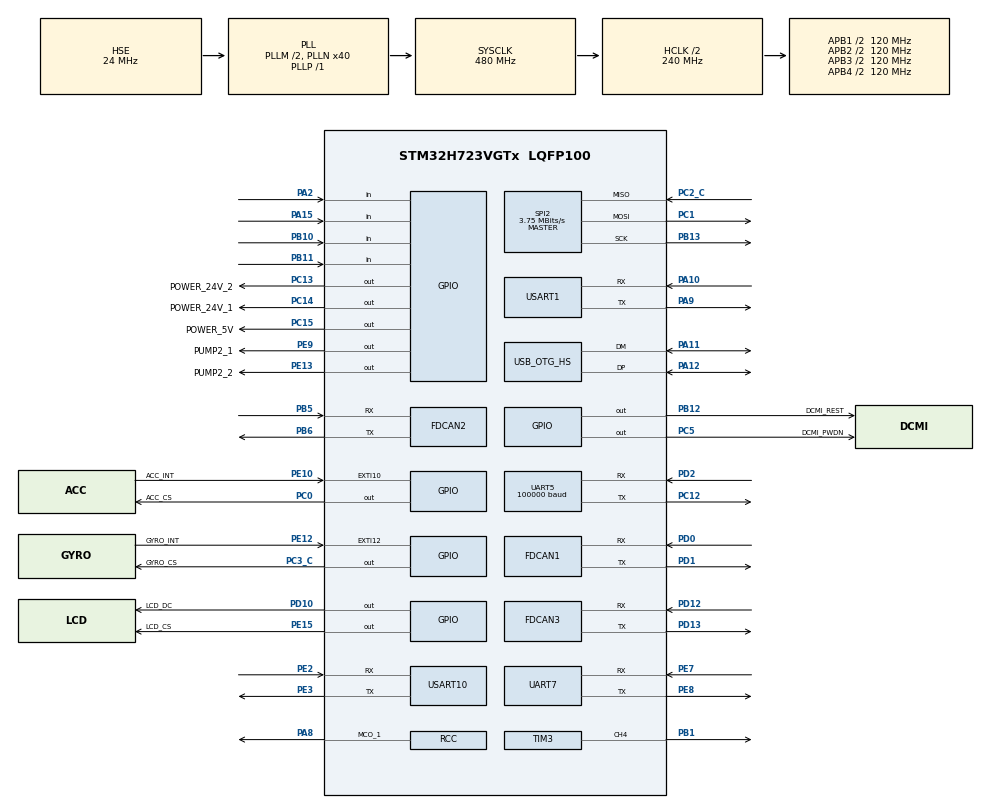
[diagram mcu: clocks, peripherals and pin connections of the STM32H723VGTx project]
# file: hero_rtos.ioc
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CORTEX_M7.default_mode_Activation=0
Dma.Request0=USART10_RX
Dma.Request1=UART5_RX
Dma.Request2=SPI2_RX
Dma.Request3=SPI2_TX
Dma.Request4=USART1_RX
Dma.SPI2_RX.2.Direction=DMA_PERIPH_TO_MEMORY
Dma.SPI2_RX.2.EventEnable=DISABLE
Dma.SPI2_RX.2.FIFOMode=DMA_FIFOMODE_DISABLE
Dma.SPI2_RX.2.Instance=DMA2_Stream0
Dma.SPI2_RX.2.MemDataAlignment=DMA_MDATAALIGN_BYTE
Dma.SPI2_RX.2.MemInc=DMA_MINC_ENABLE
Dma.SPI2_RX.2.Mode=DMA_NORMAL
Dma.SPI2_RX.2.PeriphDataAlignment=DMA_PDATAALIGN_BYTE
Dma.SPI2_RX.2.PeriphInc=DMA_PINC_DISABLE
Dma.SPI2_RX.2.Polarity=HAL_DMAMUX_REQ_GEN_RISING
Dma.SPI2_RX.2.Priority=DMA_PRIORITY_VERY_HIGH
Dma.SPI2_RX.2.RequestNumber=1
Dma.SPI2_RX.2.SignalID=NONE
Dma.SPI2_RX.2.SyncEnable=DISABLE
Dma.SPI2_RX.2.SyncPolarity=HAL_DMAMUX_SYNC_NO_EVENT
Dma.SPI2_RX.2.SyncRequestNumber=1
Dma.SPI2_RX.2.SyncSignalID=NONE
Dma.SPI2_TX.3.Direction=DMA_MEMORY_TO_PERIPH
Dma.SPI2_TX.3.EventEnable=DISABLE
Dma.SPI2_TX.3.FIFOMode=DMA_FIFOMODE_DISABLE
Dma.SPI2_TX.3.Instance=DMA2_Stream1
Dma.SPI2_TX.3.MemDataAlignment=DMA_MDATAALIGN_BYTE
Dma.SPI2_TX.3.MemInc=DMA_MINC_ENABLE
Dma.SPI2_TX.3.Mode=DMA_NORMAL
Dma.SPI2_TX.3.PeriphDataAlignment=DMA_PDATAALIGN_BYTE
Dma.SPI2_TX.3.PeriphInc=DMA_PINC_DISABLE
Dma.SPI2_TX.3.Polarity=HAL_DMAMUX_REQ_GEN_RISING
Dma.SPI2_TX.3.Priority=DMA_PRIORITY_HIGH
Dma.SPI2_TX.3.RequestNumber=1
Dma.SPI2_TX.3.SignalID=NONE
Dma.SPI2_TX.3.SyncEnable=DISABLE
Dma.SPI2_TX.3.SyncPolarity=HAL_DMAMUX_SYNC_NO_EVENT
Dma.SPI2_TX.3.SyncRequestNumber=1
Dma.SPI2_TX.3.SyncSignalID=NONE
Dma.UART5_RX.1.Direction=DMA_PERIPH_TO_MEMORY
Dma.UART5_RX.1.EventEnable=DISABLE
Dma.UART5_RX.1.FIFOMode=DMA_FIFOMODE_DISABLE
Dma.UART5_RX.1.Instance=DMA1_Stream3
Dma.UART5_RX.1.MemDataAlignment=DMA_MDATAALIGN_BYTE
Dma.UART5_RX.1.MemInc=DMA_MINC_ENABLE
Dma.UART5_RX.1.Mode=DMA_NORMAL
Dma.UART5_RX.1.PeriphDataAlignment=DMA_PDATAALIGN_BYTE
Dma.UART5_RX.1.PeriphInc=DMA_PINC_DISABLE
Dma.UART5_RX.1.Polarity=HAL_DMAMUX_REQ_GEN_RISING
Dma.UART5_RX.1.Priority=DMA_PRIORITY_VERY_HIGH
Dma.UART5_RX.1.RequestNumber=1
Dma.UART5_RX.1.SignalID=NONE
Dma.UART5_RX.1.SyncEnable=DISABLE
Dma.UART5_RX.1.SyncPolarity=HAL_DMAMUX_SYNC_NO_EVENT
Dma.UART5_RX.1.SyncRequestNumber=1
Dma.UART5_RX.1.SyncSignalID=NONE
Dma.USART10_RX.0.Direction=DMA_PERIPH_TO_MEMORY
Dma.USART10_RX.0.EventEnable=DISABLE
Dma.USART10_RX.0.FIFOMode=DMA_FIFOMODE_DISABLE
Dma.USART10_RX.0.Instance=DMA1_Stream2
Dma.USART10_RX.0.MemDataAlignment=DMA_MDATAALIGN_BYTE
Dma.USART10_RX.0.MemInc=DMA_MINC_ENABLE
Dma.USART10_RX.0.Mode=DMA_NORMAL
Dma.USART10_RX.0.PeriphDataAlignment=DMA_PDATAALIGN_BYTE
Dma.USART10_RX.0.PeriphInc=DMA_PINC_DISABLE
Dma.USART10_RX.0.Polarity=HAL_DMAMUX_REQ_GEN_RISING
Dma.USART10_RX.0.Priority=DMA_PRIORITY_VERY_HIGH
Dma.USART10_RX.0.RequestNumber=1
Dma.USART10_RX.0.SignalID=NONE
Dma.USART10_RX.0.SyncEnable=DISABLE
Dma.USART10_RX.0.SyncPolarity=HAL_DMAMUX_SYNC_NO_EVENT
Dma.USART10_RX.0.SyncRequestNumber=1
Dma.USART10_RX.0.SyncSignalID=NONE
Dma.USART1_RX.4.Direction=DMA_PERIPH_TO_MEMORY
Dma.USART1_RX.4.EventEnable=DISABLE
Dma.USART1_RX.4.FIFOMode=DMA_FIFOMODE_DISABLE
Dma.USART1_RX.4.Instance=DMA1_Stream0
Dma.USART1_RX.4.MemDataAlignment=DMA_MDATAALIGN_BYTE
Dma.USART1_RX.4.MemInc=DMA_MINC_ENABLE
Dma.USART1_RX.4.Mode=DMA_NORMAL
Dma.USART1_RX.4.PeriphDataAlignment=DMA_PDATAALIGN_BYTE
Dma.USART1_RX.4.PeriphInc=DMA_PINC_DISABLE
Dma.USART1_RX.4.Polarity=HAL_DMAMUX_REQ_GEN_RISING
Dma.USART1_RX.4.Priority=DMA_PRIORITY_VERY_HIGH
Dma.USART1_RX.4.RequestNumber=1
Dma.USART1_RX.4.SignalID=NONE
Dma.USART1_RX.4.SyncEnable=DISABLE
Dma.USART1_RX.4.SyncPolarity=HAL_DMAMUX_SYNC_NO_EVENT
Dma.USART1_RX.4.SyncRequestNumber=1
Dma.USART1_RX.4.SyncSignalID=NONE
FDCAN1.CalculateBaudRateNominal=1000000
FDCAN1.CalculateTimeBitNominal=1000
FDCAN1.CalculateTimeQuantumNominal=25.0
FDCAN1.DataPrescaler=3
FDCAN1.DataSyncJumpWidth=10
FDCAN1.DataTimeSeg1=29
FDCAN1.DataTimeSeg2=10
FDCAN1.NominalPrescaler=3
FDCAN1.NominalTimeSeg1=29
FDCAN1.NominalTimeSeg2=10
FDCAN1.ProtocolException=ENABLE
FDCAN1.RxFifo0ElmtsNbr=4
FDCAN1.RxFifo1ElmtsNbr=4
FDCAN1.StdFiltersNbr=14
FDCAN1.TxFifoQueueElmtsNbr=4
FDCAN2.CalculateBaudRateNominal=1000000
FDCAN2.CalculateTimeBitNominal=1000
FDCAN2.CalculateTimeQuantumNominal=25.0
FDCAN2.DataPrescaler=3
FDCAN2.DataSyncJumpWidth=10
FDCAN2.DataTimeSeg1=29
FDCAN2.DataTimeSeg2=10
FDCAN2.MessageRAMOffset=0x406
FDCAN2.NominalPrescaler=3
FDCAN2.NominalTimeSeg1=29
FDCAN2.NominalTimeSeg2=10
FDCAN2.RxFifo0ElmtsNbr=4
FDCAN2.RxFifo1ElmtsNbr=4
FDCAN2.StdFiltersNbr=14
FDCAN2.TxFifoQueueElmtsNbr=4
FDCAN3.CalculateBaudRateNominal=1000000
FDCAN3.CalculateTimeBitNominal=1000
FDCAN3.CalculateTimeQuantumNominal=25.0
FDCAN3.DataPrescaler=3
FDCAN3.DataSyncJumpWidth=10
FDCAN3.DataTimeSeg1=29
FDCAN3.DataTimeSeg2=10
FDCAN3.MessageRAMOffset=0x812
FDCAN3.NominalPrescaler=3
FDCAN3.NominalTimeSeg1=29
FDCAN3.NominalTimeSeg2=10
FDCAN3.RxFifo0ElmtsNbr=4
FDCAN3.RxFifo1ElmtsNbr=4
FDCAN3.StdFiltersNbr=14
FDCAN3.TxFifoQueueElmtsNbr=4
FREERTOS.Tasks01=AlgorithmTask,40,2048,AlgorithmTask_Entry,As weak,NULL,Dynamic,NULL,NULL
FREERTOS.configENABLE_FPU=1
FREERTOS.configTOTAL_HEAP_SIZE=200000
FREERTOS.configUSE_NEWLIB_REENTRANT=1
Mcu.Family=STM32H7
Mcu.Name=STM32H723VGTx
Mcu.Package=LQFP100
NVIC.DMA1_Stream0_IRQn=true\:5\:0\:false\:false\:true\:true\:false\:true\:true
NVIC.DMA1_Stream2_IRQn=true\:5\:0\:false\:false\:true\:true\:false\:true\:true
NVIC.DMA1_Stream3_IRQn=true\:5\:0\:false\:false\:true\:true\:false\:true\:true
NVIC.DMA2_Stream0_IRQn=true\:5\:0\:false\:false\:true\:true\:false\:true\:true
NVIC.DMA2_Stream1_IRQn=true\:5\:0\:false\:false\:true\:true\:false\:true\:true
NVIC.FDCAN1_IT0_IRQn=true\:5\:0\:false\:false\:true\:true\:true\:true\:true
NVIC.FDCAN1_IT1_IRQn=true\:5\:0\:false\:false\:true\:true\:true\:true\:true
NVIC.FDCAN2_IT0_IRQn=true\:5\:0\:false\:false\:true\:true\:true\:true\:true
NVIC.FDCAN2_IT1_IRQn=true\:5\:0\:false\:false\:true\:true\:true\:true\:true
NVIC.FDCAN3_IT0_IRQn=true\:5\:0\:false\:false\:true\:true\:true\:true\:true
NVIC.FDCAN3_IT1_IRQn=true\:5\:0\:false\:false\:true\:true\:true\:true\:true
NVIC.OTG_HS_IRQn=true\:5\:0\:false\:false\:true\:true\:true\:true\:true
NVIC.PriorityGroup=NVIC_PRIORITYGROUP_4
NVIC.SPI2_IRQn=true\:5\:0\:false\:false\:true\:true\:false\:true\:true
NVIC.TIM23_IRQn=true\:15\:0\:false\:false\:true\:false\:false\:true\:true
NVIC.TimeBase=TIM23_IRQn
NVIC.TimeBaseIP=TIM23
NVIC.UART5_IRQn=true\:5\:0\:false\:false\:true\:true\:true\:true\:true
NVIC.USART10_IRQn=true\:5\:0\:false\:false\:true\:true\:true\:true\:true
NVIC.USART1_IRQn=true\:5\:0\:false\:false\:true\:true\:true\:true\:true
PA1.Signal=OCTOSPIM_P1_IO3
PA10.GPIO_Speed=GPIO_SPEED_FREQ_VERY_HIGH
PA10.Mode=Asynchronous
PA10.Signal=USART1_RX
PA11.Mode=Device_Only_FS
PA11.Signal=USB_OTG_HS_DM
PA12.Mode=Device_Only_FS
PA12.Signal=USB_OTG_HS_DP
PA13(JTMS/SWDIO).Signal=DEBUG_JTMS-SWDIO
PA14(JTCK/SWCLK).Signal=DEBUG_JTCK-SWCLK
PA15(JTDI).Signal=GPIO_Input
PA2.Signal=GPIO_Input
PA3.Signal=OCTOSPIM_P1_IO2
PA5.Signal=ADCx_INP19
PA8.Mode=Clock-out-1
PA8.Signal=RCC_MCO_1
PA9.GPIO_Speed=GPIO_SPEED_FREQ_VERY_HIGH
PA9.Mode=Asynchronous
PA9.Signal=USART1_TX
PB0.Signal=OCTOSPIM_P1_IO1
PB1.Signal=S_TIM3_CH4
PB10.Signal=GPIO_Input
PB11.Signal=GPIO_Input
PB12.GPIO_Label=DCMI_REST
PB12.GPIO_PuPd=GPIO_PULLUP
PB12.GPIO_Speed=GPIO_SPEED_FREQ_VERY_HIGH
PB12.PinState=GPIO_PIN_SET
PB12.Signal=GPIO_Output
PB13.GPIO_Speed=GPIO_SPEED_FREQ_VERY_HIGH
PB13.Mode=Full_Duplex_Master
PB13.Signal=SPI2_SCK
PB15.Signal=S_TIM12_CH2
PB2.Signal=OCTOSPIM_P1_CLK
PB5.Mode=FDCAN_Activate
PB5.Signal=FDCAN2_RX
PB6.Mode=FDCAN_Activate
PB6.Signal=FDCAN2_TX
PC0.GPIO_Label=ACC_CS
PC0.GPIO_Speed=GPIO_SPEED_FREQ_VERY_HIGH
PC0.PinState=GPIO_PIN_SET
PC0.Signal=GPIO_Output
PC1.GPIO_Speed=GPIO_SPEED_FREQ_VERY_HIGH
PC1.Mode=Full_Duplex_Master
PC1.Signal=SPI2_MOSI
PC12.GPIO_Speed=GPIO_SPEED_FREQ_VERY_HIGH
PC12.Mode=Asynchronous
PC12.Signal=UART5_TX
PC13.GPIO_Label=POWER_24V_2
PC13.PinState=GPIO_PIN_SET
PC13.Signal=GPIO_Output
PC14-OSC32_IN.GPIO_Label=POWER_24V_1
PC14-OSC32_IN.PinState=GPIO_PIN_SET
PC14-OSC32_IN.Signal=GPIO_Output
PC15-OSC32_OUT.GPIO_Label=POWER_5V
PC15-OSC32_OUT.PinState=GPIO_PIN_SET
PC15-OSC32_OUT.Signal=GPIO_Output
PC2_C.GPIO_Speed=GPIO_SPEED_FREQ_VERY_HIGH
PC2_C.Mode=Full_Duplex_Master
PC2_C.Signal=SPI2_MISO
PC3_C.GPIO_Label=GYRO_CS
PC3_C.GPIO_Speed=GPIO_SPEED_FREQ_VERY_HIGH
PC3_C.PinState=GPIO_PIN_SET
PC3_C.Signal=GPIO_Output
PC5.GPIO_Label=DCMI_PWDN
PC5.GPIO_Speed=GPIO_SPEED_FREQ_VERY_HIGH
PC5.PinState=GPIO_PIN_SET
PC5.Signal=GPIO_Output
PD0.Mode=FDCAN_Activate
PD0.Signal=FDCAN1_RX
PD1.Mode=FDCAN_Activate
PD1.Signal=FDCAN1_TX
PD10.GPIO_Label=LCD_DC
PD10.Signal=GPIO_Output
PD11.Signal=OCTOSPIM_P1_IO0
PD12.Mode=FDCAN_Activate
PD12.Signal=FDCAN3_RX
PD13.Mode=FDCAN_Activate
PD13.Signal=FDCAN3_TX
PD2.GPIO_Speed=GPIO_SPEED_FREQ_VERY_HIGH
PD2.Mode=Asynchronous
PD2.Signal=UART5_RX
PD4.Signal=USART2_DE
PD5.Signal=USART2_TX
PD6.Signal=USART2_RX
PD7.Signal=SPI1_MOSI
PE10.GPIO_Label=ACC_INT
PE10.Signal=GPXTI10
PE11.Signal=OCTOSPIM_P1_NCS
PE12.GPIO_Label=GYRO_INT
PE12.Signal=GPXTI12
PE13.GPIO_Label=PUMP2_2
PE13.Signal=GPIO_Output
PE15.GPIO_Label=LCD_CS
PE15.Signal=GPIO_Output
PE2.GPIO_Speed=GPIO_SPEED_FREQ_VERY_HIGH
PE2.Mode=Asynchronous
PE2.Signal=USART10_RX
PE3.GPIO_Speed=GPIO_SPEED_FREQ_VERY_HIGH
PE3.Mode=Asynchronous
PE3.Signal=USART10_TX
PE7.Mode=Asynchronous
PE7.Signal=UART7_RX
PE8.Mode=Asynchronous
PE8.Signal=UART7_TX
PE9.GPIO_Label=PUMP2_1
PE9.Signal=GPIO_Output
PH0-OSC_IN.Mode=HSE-External-Oscillator
PH0-OSC_IN.Signal=RCC_OSC_IN
PH1-OSC_OUT.Mode=HSE-External-Oscillator
PH1-OSC_OUT.Signal=RCC_OSC_OUT
ProjectManager.HeapSize=0x200
ProjectManager.StackSize=0x400
ProjectManager.TargetToolchain=STM32CubeIDE
RCC.ADCFreq_Value=96000000
RCC.APB1Freq_Value=120000000
RCC.APB2Freq_Value=120000000
RCC.APB3Freq_Value=120000000
RCC.APB4Freq_Value=120000000
RCC.CortexFreq_Value=480000000
RCC.D1PPRE=RCC_APB3_DIV2
RCC.D2PPRE1=RCC_APB1_DIV2
RCC.D2PPRE2=RCC_APB2_DIV2
RCC.D3PPRE=RCC_APB4_DIV2
RCC.DIVM1=2
RCC.DIVM2=2
RCC.DIVN1=40
RCC.DIVN2=16
RCC.DIVP1=1
RCC.DIVQ1=4
RCC.HCLKFreq_Value=240000000
RCC.HPRE=RCC_HCLK_DIV2
RCC.HSE_VALUE=24000000
RCC.PLL2FRACN=0
RCC.PLL3FRACN=0
RCC.PLLFRACN=0
RCC.PLLSourceVirtual=RCC_PLLSOURCE_HSE
RCC.PWR_Regulator_Voltage_Scale=PWR_REGULATOR_VOLTAGE_SCALE0
RCC.SYSCLKFreq_VALUE=480000000
RCC.SYSCLKSource=RCC_SYSCLKSOURCE_PLLCLK
RCC.USBCLockSelection=RCC_USBCLKSOURCE_HSI48
RCC.USBFreq_Value=48000000
SH.ADCx_INP19.0=ADC1_INP19
SH.S_TIM12_CH2.0=TIM12_CH2
SH.S_TIM3_CH4.0=TIM3_CH4,PWM Generation4 CH4
SPI2.BaudRatePrescaler=SPI_BAUDRATEPRESCALER_32
SPI2.CLKPhase=SPI_PHASE_2EDGE
SPI2.CLKPolarity=SPI_POLARITY_HIGH
SPI2.CalculateBaudRate=3.75 MBits/s
SPI2.DataSize=SPI_DATASIZE_8BIT
SPI2.Direction=SPI_DIRECTION_2LINES
SPI2.Mode=SPI_MODE_MASTER
SPI2.VirtualType=VM_MASTER
TIM3.AutoReloadPreload=TIM_AUTORELOAD_PRELOAD_ENABLE
TIM3.Channel-PWM\ Generation4\ CH4=TIM_CHANNEL_4
TIM3.Period=10000-1
TIM3.Prescaler=24-1
UART5.BaudRate=100000
UART5.Parity=PARITY_EVEN
UART5.WordLength=WORDLENGTH_9B
USART1.VirtualMode-Asynchronous=VM_ASYNC
USART10.VirtualMode=VM_ASYNC
USB_DEVICE.CLASS_NAME_HS=CDC
USB_DEVICE.VirtualMode=Cdc
USB_DEVICE.VirtualModeHS=Cdc_HS
USB_OTG_HS.VirtualMode-Device_Only_FS=Device_Only_FS
VP_FREERTOS_VS_CMSIS_V2.Mode=CMSIS_V2
VP_MEMORYMAP_VS_MEMORYMAP.Mode=CurAppReg
VP_SYS_VS_tim23.Mode=TIM23
VP_USB_DEVICE_VS_USB_DEVICE_CDC_HS.Mode=CDC_HS
board=custom

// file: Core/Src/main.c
/* USER CODE BEGIN Header */
/**
  ******************************************************************************
  * @file           : main.c
  * @brief          : Main program body
  ******************************************************************************
  * @attention
  *
  * Copyright (c) 2026 STMicroelectronics.
  * All rights reserved.
  *
  * This software is licensed under terms that can be found in the LICENSE file
  * in the root directory of this software component.
  * If no LICENSE file comes with this software, it is provided AS-IS.
  *
  ******************************************************************************
  */
/* USER CODE END Header */
#include "main.h"
#include "FreeRTOS.h"
#include "cmsis_os2.h"
#include "dma.h"
#include "fdcan.h"
#include "spi.h"
#include "tim.h"
#include "usart.h"
#include "usb_device.h"
#include "gpio.h"

/* USER CODE BEGIN Includes */
#include "drv_dwt.h"
#include "bsp_fdcan.h"
/* USER CODE END Includes */

void SystemClock_Config(void);
void MX_FREERTOS_Init(void);

int main(void)
{

  /* MCU Configuration--------------------------------------------------------*/

  /* Reset of all peripherals, Initializes the Flash interface and the Systick. */
  HAL_Init();

  /* USER CODE BEGIN Init */
  dwt_init(480);  // CPU主频480MHz
  /* USER CODE END Init */

  /* Configure the system clock */
  SystemClock_Config();

  /* Initialize all configured peripherals */
  MX_GPIO_Init();
  MX_DMA_Init();
  MX_FDCAN1_Init();
  MX_FDCAN2_Init();
  MX_FDCAN3_Init();
  MX_SPI2_Init();
  MX_UART5_Init();
  MX_UART7_Init();
  MX_USART1_UART_Init();
  MX_USART10_UART_Init();
  MX_TIM3_Init();
  /* USER CODE BEGIN 2 */
  bsp_can_init();
  /* USER CODE END 2 */

  /* Init scheduler */
  osKernelInitialize();  /* Call init function for freertos objects (in cmsis_os2.c) */
  MX_FREERTOS_Init();

  /* Start scheduler */
  osKernelStart();

  /* We should never get here as control is now taken by the scheduler */

  /* Infinite loop */
  while (1)
  {

  }
}

void SystemClock_Config(void)
{
  RCC_OscInitTypeDef RCC_OscInitStruct = {0};
  RCC_ClkInitTypeDef RCC_ClkInitStruct = {0};

  /** Supply configuration update enable
  */
  HAL_PWREx_ConfigSupply(PWR_LDO_SUPPLY);

  /** Configure the main internal regulator output voltage
  */
  __HAL_PWR_VOLTAGESCALING_CONFIG(PWR_REGULATOR_VOLTAGE_SCALE0);

  while(!__HAL_PWR_GET_FLAG(PWR_FLAG_VOSRDY)) {}

  /** Initializes the RCC Oscillators according to the specified parameters
  * in the RCC_OscInitTypeDef structure.
  */
  RCC_OscInitStruct.OscillatorType = RCC_OSCILLATORTYPE_HSI48|RCC_OSCILLATORTYPE_HSI
                              |RCC_OSCILLATORTYPE_HSE;
  RCC_OscInitStruct.HSEState = RCC_HSE_ON;
  RCC_OscInitStruct.HSIState = RCC_HSI_DIV1;
  RCC_OscInitStruct.HSICalibrationValue = 64;
  RCC_OscInitStruct.HSI48State = RCC_HSI48_ON;
  RCC_OscInitStruct.PLL.PLLState = RCC_PLL_ON;
  RCC_OscInitStruct.PLL.PLLSource = RCC_PLLSOURCE_HSE;
  RCC_OscInitStruct.PLL.PLLM = 2;
  RCC_OscInitStruct.PLL.PLLN = 40;
  RCC_OscInitStruct.PLL.PLLP = 1;
  RCC_OscInitStruct.PLL.PLLQ = 4;
  RCC_OscInitStruct.PLL.PLLR = 2;
  RCC_OscInitStruct.PLL.PLLRGE = RCC_PLL1VCIRANGE_3;
  RCC_OscInitStruct.PLL.PLLVCOSEL = RCC_PLL1VCOWIDE;
  RCC_OscInitStruct.PLL.PLLFRACN = 0;
  if (HAL_RCC_OscConfig(&RCC_OscInitStruct) != HAL_OK)
  {
    Error_Handler();
  }

  /** Initializes the CPU, AHB and APB buses clocks
  */
  RCC_ClkInitStruct.ClockType = RCC_CLOCKTYPE_HCLK|RCC_CLOCKTYPE_SYSCLK
                              |RCC_CLOCKTYPE_PCLK1|RCC_CLOCKTYPE_PCLK2
                              |RCC_CLOCKTYPE_D3PCLK1|RCC_CLOCKTYPE_D1PCLK1;
  RCC_ClkInitStruct.SYSCLKSource = RCC_SYSCLKSOURCE_PLLCLK;
  RCC_ClkInitStruct.SYSCLKDivider = RCC_SYSCLK_DIV1;
  RCC_ClkInitStruct.AHBCLKDivider = RCC_HCLK_DIV2;
  RCC_ClkInitStruct.APB3CLKDivider = RCC_APB3_DIV2;
  RCC_ClkInitStruct.APB1CLKDivider = RCC_APB1_DIV2;
  RCC_ClkInitStruct.APB2CLKDivider = RCC_APB2_DIV2;
  RCC_ClkInitStruct.APB4CLKDivider = RCC_APB4_DIV2;

  if (HAL_RCC_ClockConfig(&RCC_ClkInitStruct, FLASH_LATENCY_3) != HAL_OK)
  {
    Error_Handler();
  }
  HAL_RCC_MCOConfig(RCC_MCO1, RCC_MCO1SOURCE_HSI, RCC_MCODIV_1);
}

void HAL_TIM_PeriodElapsedCallback(TIM_HandleTypeDef *htim)
{
  if (htim->Instance == TIM23)
  {
    HAL_IncTick();
  }
}

void Error_Handler(void)
{
  __disable_irq();
  while (1)
  {
  }
}

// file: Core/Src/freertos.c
/* USER CODE BEGIN Header */
/**
  ******************************************************************************
  * File Name          : freertos.c
  * Description        : Code for freertos applications
  ******************************************************************************
  * @attention
  *
  * Copyright (c) 2026 STMicroelectronics.
  * All rights reserved.
  *
  * This software is licensed under terms that can be found in the LICENSE file
  * in the root directory of this software component.
  * If no LICENSE file comes with this software, it is provided AS-IS.
  *
  ******************************************************************************
  */
/* USER CODE END Header */

#include "FreeRTOS.h"
#include "task.h"
#include "main.h"
#include "FreeRTOS.h"
#include "cmsis_os2.h"

/* USER CODE BEGIN Includes */
#include "rm_task.h"
/* USER CODE END Includes */

void MX_FREERTOS_Init(void); /* (MISRA C 2004 rule 8.1) */

void MX_FREERTOS_Init(void) {

  /* USER CODE BEGIN RTOS_THREADS */

#ifdef BSP_USING_INS_TASK
  osThreadId_t InsTaskHandle;
  const osThreadAttr_t InsTask_attr = {
      .name = "InsTask", .stack_size = 2048*4, .priority = osPriorityHigh,
  };
  InsTaskHandle = osThreadNew(InsTask_Entry, NULL, &InsTask_attr);
#endif

#ifdef BSP_USING_MOTOR_TASK
  osThreadId_t MotorTaskHandle;
  const osThreadAttr_t MotorTask_attr = {
      .name = "MotorTask", .stack_size = 2048*4, .priority = osPriorityIdle,
  };
  MotorTaskHandle = osThreadNew(MotorTask_Entry, NULL, &MotorTask_attr);
#endif

#ifdef BSP_USING_CMD_TASK
  osThreadId_t CmdTaskHandle;
  const osThreadAttr_t CmdTask_attr = {
      .name = "CmdTask", .stack_size = 2048*4, .priority = osPriorityHigh,
  };
  CmdTaskHandle = osThreadNew(CmdTask_Entry, NULL, &CmdTask_attr);
#endif

#ifdef BSP_USING_CHASSIS_TASK
  osThreadId_t ChassisTaskHandle;
  const osThreadAttr_t ChassisTask_attr = {
      .name = "ChassisTask", .stack_size = 1024*4, .priority = osPriorityHigh,
  };
  ChassisTaskHandle = osThreadNew(ChassisTask_Entry, NULL, &ChassisTask_attr);
#endif

#ifdef BSP_USING_GIMBAL_TASK
  osThreadId_t GimbalTaskHandle;
  const osThreadAttr_t GimbalTask_attr = {
      .name = "GimbalTask", .stack_size = 1024*4, .priority = osPriorityHigh,
  };
  GimbalTaskHandle = osThreadNew(GimbalTask_Entry, NULL, &GimbalTask_attr);
#endif

#ifdef BSP_USING_SHOOT_TASK
  osThreadId_t ShootTaskHandle;
  const osThreadAttr_t ShootTask_attr = {
      .name = "ShootTask", .stack_size = 1024*4, .priority = osPriorityHigh,
  };
  ShootTaskHandle = osThreadNew(ShootTask_Entry, NULL, &ShootTask_attr);
#endif

#ifdef BSP_USING_TRANSMISSION_TASK
  osThreadId_t TransmissionTaskHandle;
  const osThreadAttr_t TransmissionTask_attr = {
      .name = "TransTask", .stack_size = 1024*4, .priority = osPriorityHigh,
  };
  TransmissionTaskHandle = osThreadNew(TransmissionTask_Entry, NULL, &TransmissionTask_attr);
#endif

#ifdef BSP_USING_USARTREC_TASK
  osThreadId_t USARTRecTaskHandle;
  const osThreadAttr_t USARTRecTask_attr = {
      .name = "USARTRecTask", .stack_size = 2048*4, .priority = osPriorityHigh,
  };
  USARTRecTaskHandle = osThreadNew(USARTRecTask_Entry, NULL, &USARTRecTask_attr);
#endif

#ifdef BSP_USING_REFEREE_TASK
  osThreadId_t RefereeTaskHandle;
  const osThreadAttr_t RefereeTask_attr = {
      .name = "RefereeTask", .stack_size = 2048*4, .priority = osPriorityHigh,
  };
  RefereeTaskHandle = osThreadNew(RefereeTask_Entry, NULL, &RefereeTask_attr);
#endif

#ifdef BSP_USING_SUPERCAP_TASK
  osThreadId_t SupercapTaskHandle;
  const osThreadAttr_t SupercapTask_attr = {
      .name = "Supercap", .stack_size = 768*4, .priority = osPriorityIdle,
  };
  SupercapTaskHandle = osThreadNew(Supercap_Entry, NULL, &SupercapTask_attr);
#endif

  /* USER CODE END RTOS_THREADS */

}
